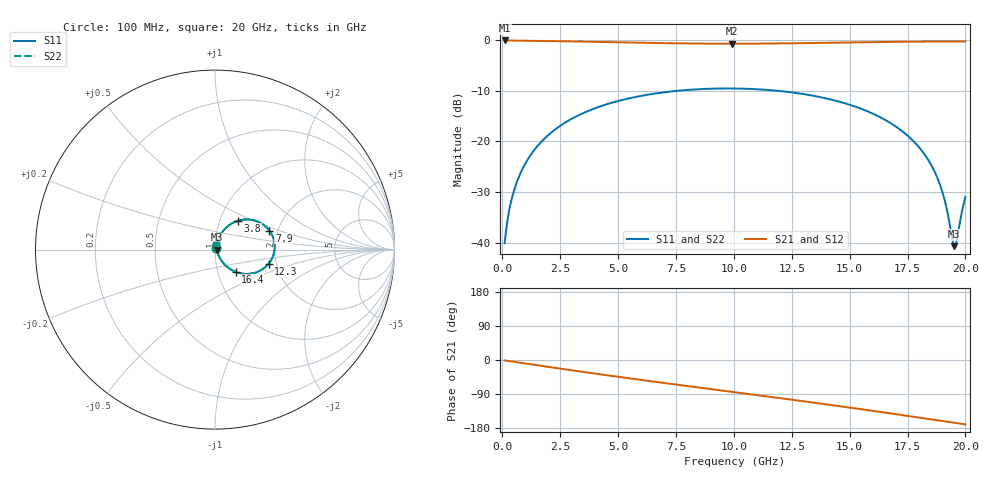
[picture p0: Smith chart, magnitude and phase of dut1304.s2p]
! Touchstone file exported from HFSS 2026.1.0
!  File:  C:/ffzhzh/LocalFiles/Ansys_Project_Files/temp_train_TSV_RDL_1304_1783334299_38704.aedt
!  Generated:  06:47:46 PM Jul  6, 2026
!  Design:  TSV_RDL
!  Project:  temp_train_TSV_RDL_1304_1783334299_38704
! Variables:
!  h_bsmrdl = 3.1um
!  h_ox = 20um
!  h_rdl = 5um
!  h_sub = 91.52um
!  h_tmrdl = 4.88um
!  h_tsv = 91.52um
!  h_via = 3um
!  l_bsmrdl = 123.19um
!  l_sub = 2683.53um
!  l_tmrdl = 435.26um
!  m_sub = 200um
!  pitch = 52.46um
!  r_tsv = 13.58um
!  s_tmrdl = 10um
!  w_bsmrdl = 28.94um
!  w_sub = 500um
!  w_tmrdl = 28.7um
!  x_tsv_center1 = 449.61um
!  x_tsv_center2 = 601.74um
!  x_tsv_center3 = 1065.7um
!  x_tsv_center4 = 1217.83um
!  x_tsv_center5 = 1681.79um
!  x_tsv_center6 = 1833.92um
# GHz S MA R 50.000000
! Terminal data exported
! Port[1] = TM_RDL1_1_T1
! Port[2] = TM_RDL5_1_T1
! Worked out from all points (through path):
!   200 points, 100 MHz to 20 GHz, reference 50 ohm
!   highest |S21| = -0.06 dB at 100 MHz (marker M1); lowest = -0.7 dB at 9.9 GHz (marker M2)
!   group delay of S21, straight-line fit = 23.1 ps
!   lowest |S11| = -40.7 dB at 19.5 GHz (marker M3), VSWR 1.02, Z = 50.9 - j0.00351 ohm
!   |S11| at or under -10 dB: start of sweep to 7.576 GHz; 11.89 GHz to end of sweep
!   |S22| runs from -40.6 to -9.5 dB; largest |S21 - S12| = 4.2e-14
!   S11 on the Smith chart (normalised r, x): 100 MHz: 1.01, +0.01; 3.8 GHz: 1.21, +0.41; 7.9 GHz: 1.81, +0.43; 12.3 GHz: 1.82, -0.32; 16.4 GHz: 1.22, -0.31; 20 GHz: 1.01, +0.06
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0.1  0.009913 42.6  0.9928 -1.0  0.9928 -1.0  0.009913 42.6
! Gamma 0 0 0 0
! Port Impedance 50 0 50 0
0.3  0.02107 63.8  0.9914 -2.8  0.9914 -2.8  0.02107 63.8
0.5  0.03236 68.9  0.9903 -4.7  0.9903 -4.7  0.03236 68.9
1.1  0.06645 71.0  0.9875 -10.1  0.9875 -10.1  0.06645 71.0
2.1  0.1217 65.2  0.9806 -19.2  0.9806 -19.2  0.1217 65.2
3.5  0.1907 54.2  0.967 -31.5  0.967 -31.5  0.1907 54.2
3.8  0.2039 51.7  0.9639 -34.1  0.9639 -34.1  0.2039 51.7
6.8  0.3016 27.8  0.9349 -59.1  0.9349 -59.1  0.3016 27.8
7.9  0.321 19.2  0.9279 -68.0  0.9279 -68.0  0.321 19.2
9.9  0.3334 3.8  0.9226 -83.9  0.9226 -83.9  0.3334 3.8
10.1  0.333 2.3  0.9227 -85.5  0.9227 -85.5  0.333 2.3
12.3  0.309 -14.7  0.9295 -103.1  0.9295 -103.1  0.309 -14.7
13.4  0.2834 -23.4  0.9365 -112.1  0.9365 -112.1  0.2834 -23.4
15  0.2303 -36.1  0.9488 -125.6  0.9488 -125.6  0.2303 -36.1
16.4  0.1696 -47.1  0.9593 -137.7  0.9593 -137.7  0.1696 -47.1
16.7  0.1551 -49.4  0.9612 -140.3  0.9612 -140.3  0.1551 -49.4
17.8  0.09828 -57.1  0.9668 -150.1  0.9668 -150.1  0.09827 -57.1
18.6  0.05429 -59.9  0.969 -157.3  0.969 -157.3  0.05429 -59.8
19.1  0.02664 -54.1  0.9694 -161.8  0.9694 -161.8  0.02665 -54.0
19.5  0.009248 -0.2  0.9691 -165.4  0.9691 -165.4  0.009284 -0.1
19.6  0.009753 34.1  0.9689 -166.3  0.9689 -166.3  0.009789 34.0
20  0.02827 79.6  0.968 -169.9  0.968 -169.9  0.02829 79.5
